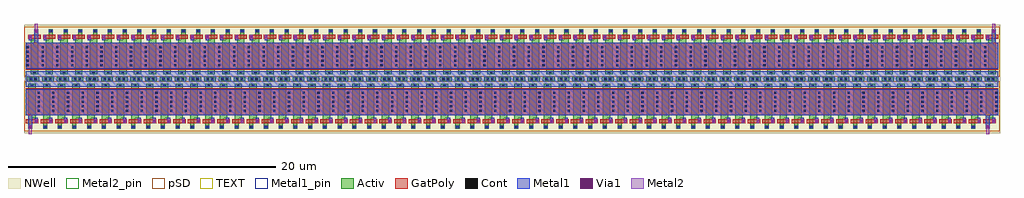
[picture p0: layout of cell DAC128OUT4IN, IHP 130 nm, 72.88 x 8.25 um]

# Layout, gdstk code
from math import pi, radians
import gdstk
lib = gdstk.Library(unit=1e-6, precision=1e-09)
def R(c, l, rs):  # rectangles x0, y0, x1, y1
    for r in rs: c.add(gdstk.rectangle(r[:2], r[2:], *l))
def A(c, l, x, y, w, h, nx, ny, dx, dy):  # array of equal rectangles
    R(c, l, [(x+i*dx, y+j*dy, x+i*dx+w, y+j*dy+h) for i in range(nx) for j in range(ny)])
Activ = (1, 0)
GatPoly = (5, 0)
Cont = (6, 0)
Metal1 = (8, 0)
Metal1_pin = (8, 2)
Metal2 = (10, 0)
Metal2_pin = (10, 2)
pSD = (14, 0)
Via1 = (19, 0)
NWell = (31, 0)
TEXT = (63, 0)

switched_pmos_cascode = lib.new_cell('switched_pmos_cascode')
R(switched_pmos_cascode, Activ, [(0.29,-0.38,0.59,0.58)])
R(switched_pmos_cascode, GatPoly, [(-0.15,-0.15,0.77,0.15)])
R(switched_pmos_cascode, Cont, [(-0.26,-2.21,-0.1,-2.05), (0.36,0.35,0.52,0.51)])
R(switched_pmos_cascode, Metal1, [(-0.11,-0.265,0.11,0.145), (0.295,0.325,0.585,0.535)])
R(switched_pmos_cascode, Metal2, [(-0.11,-0.145,0.11,0.145)])
R(switched_pmos_cascode, pSD, [(-0.01,-0.56,0.89,0.76)])
R(switched_pmos_cascode, Via1, [(-0.095,-0.095,0.095,0.095)])
R(switched_pmos_cascode, NWell, [(-0.03,-0.79,0.91,0.89)])
R(switched_pmos_cascode, TEXT, [(0.335,0.285,0.545,0.575), (0.345,0.335,0.535,0.525)])

pcsource1 = lib.new_cell('PCSOURCE1')
R(pcsource1, Activ, [(-0.22,-3.3,0.66,-3), (0.04,-2.79,0.59,-0.22)])
R(pcsource1, GatPoly, [(-0.33,-2.45,0.77,-0.45)])
A(pcsource1, Cont, -0.26, -1.87, 0.16, 0.16, 1, 4, 0, 0.34)
R(pcsource1, Cont, [(-0.03,-3.23,0.13,-3.07), (0.31,-3.23,0.47,-3.07), (0.235,-2.72,0.395,-2.56), (-0.08,-0.08,0.08,0.08)])
R(pcsource1, Metal1, [(-0.33,-3.23,0.77,-2.56), (-0.33,-2.38,0.77,-0.45)])
R(pcsource1, Metal1_pin, [(-0.33,-3.23,0.77,-2.56), (-0.33,-2.38,0.77,-0.45), (0.295,0.325,0.585,0.535)])
R(pcsource1, Metal2_pin, [(-0.105,-0.145,0.105,0.145)])
R(pcsource1, pSD, [(-0.45,-2.97,0.89,0.76)])
R(pcsource1, NWell, [(-0.47,-3.54,0.91,0.89)])
pcsource1.add(gdstk.Reference(switched_pmos_cascode, (0,0)))
pcsource1.add(gdstk.Label('VDD', (0.22,-2.895), layer=8, texttype=2))
pcsource1.add(gdstk.Label('Iout', (0.44,0.43), layer=8, texttype=2))
pcsource1.add(gdstk.Label('VbiasP', (0.22,-1.45), layer=8, texttype=2))
pcsource1.add(gdstk.Label('VcascodeP', (0,0), layer=10, texttype=2))

switched_pmos_cascode_1 = lib.new_cell('switched_pmos_cascode$1')
R(switched_pmos_cascode_1, Activ, [(0.29,-0.38,0.59,0.58)])
R(switched_pmos_cascode_1, GatPoly, [(-0.15,-0.15,0.77,0.15)])
R(switched_pmos_cascode_1, Cont, [(-0.26,-2.21,-0.1,-2.05), (0.36,0.35,0.52,0.51)])
R(switched_pmos_cascode_1, Metal1, [(-0.11,-0.265,0.11,0.145), (0.295,0.325,0.585,0.535)])
R(switched_pmos_cascode_1, Metal2, [(-0.11,-0.145,0.11,0.145)])
R(switched_pmos_cascode_1, pSD, [(-0.01,-0.56,0.89,0.76)])
R(switched_pmos_cascode_1, Via1, [(-0.095,-0.095,0.095,0.095)])
R(switched_pmos_cascode_1, NWell, [(-0.03,-0.79,0.91,0.89)])
R(switched_pmos_cascode_1, TEXT, [(0.335,0.285,0.545,0.575), (0.345,0.335,0.535,0.525)])

pcsource2 = lib.new_cell('PCSOURCE2')
R(pcsource2, Activ, [(-0.22,-3.3,0.66,-3), (0.04,-2.79,0.59,-0.22)])
R(pcsource2, GatPoly, [(-0.33,-2.45,0.77,-0.45)])
A(pcsource2, Cont, -0.26, -1.87, 0.16, 0.16, 1, 4, 0, 0.34)
R(pcsource2, Cont, [(-0.03,-3.23,0.13,-3.07), (0.31,-3.23,0.47,-3.07), (0.235,-2.72,0.395,-2.56), (-0.08,-0.08,0.08,0.08)])
R(pcsource2, Metal1, [(-0.33,-3.23,0.77,-2.56), (-0.33,-2.38,0.77,-0.45)])
R(pcsource2, Metal1_pin, [(-0.33,-3.23,0.77,-2.56), (-0.33,-2.38,0.77,-0.45), (0.295,0.325,0.585,0.535)])
R(pcsource2, Metal2_pin, [(-0.105,-0.145,0.105,0.145)])
R(pcsource2, pSD, [(-0.45,-2.97,0.89,0.76)])
R(pcsource2, NWell, [(-0.47,-3.54,0.91,0.89)])
pcsource2.add(gdstk.Reference(switched_pmos_cascode_1, (0,0)))
pcsource2.add(gdstk.Label('VDD', (0.22,-2.895), layer=8, texttype=2))
pcsource2.add(gdstk.Label('Iout', (0.44,0.43), layer=8, texttype=2))
pcsource2.add(gdstk.Label('VbiasP', (0.22,-1.45), layer=8, texttype=2))
pcsource2.add(gdstk.Label('VcascodeP', (0,0), layer=10, texttype=2))

refsource_connect1 = lib.new_cell('refsource_connect1')
R(refsource_connect1, Metal1, [(0.295,-0.485,0.585,0.535)])
R(refsource_connect1, Metal2, [(0.335,0.285,0.545,0.975)])
R(refsource_connect1, Via1, [(0.345,0.335,0.535,0.525)])

refsource_connect2 = lib.new_cell('refsource_connect2')
R(refsource_connect2, Metal1, [(0.295,-0.485,0.585,0.535)])
R(refsource_connect2, Metal2, [(0.335,0.285,0.545,0.975)])
R(refsource_connect2, Via1, [(0.345,0.335,0.535,0.525)])

dac128out4in = lib.new_cell('DAC128OUT4IN')
r = gdstk.Reference(pcsource1, (0,0)); r.repetition = gdstk.Repetition(66, 1, v1=(1.1,0), v2=(0,0)); dac128out4in.add(r)
r = gdstk.Reference(pcsource2, (71.94,-6.3), rotation=pi); r.repetition = gdstk.Repetition(66, 1, v1=(-1.1,0), v2=(0,0)); dac128out4in.add(r)
r = gdstk.Reference(refsource_connect1, (0,0)); r.repetition = gdstk.Repetition(2, 1, v1=(71.5,0), v2=(0,0)); dac128out4in.add(r)
r = gdstk.Reference(refsource_connect2, (71.94,-6.3), rotation=pi); r.repetition = gdstk.Repetition(2, 1, v1=(-71.5,0), v2=(0,0)); dac128out4in.add(r)

lib.write_gds('DAC128OUT4IN.gds')
